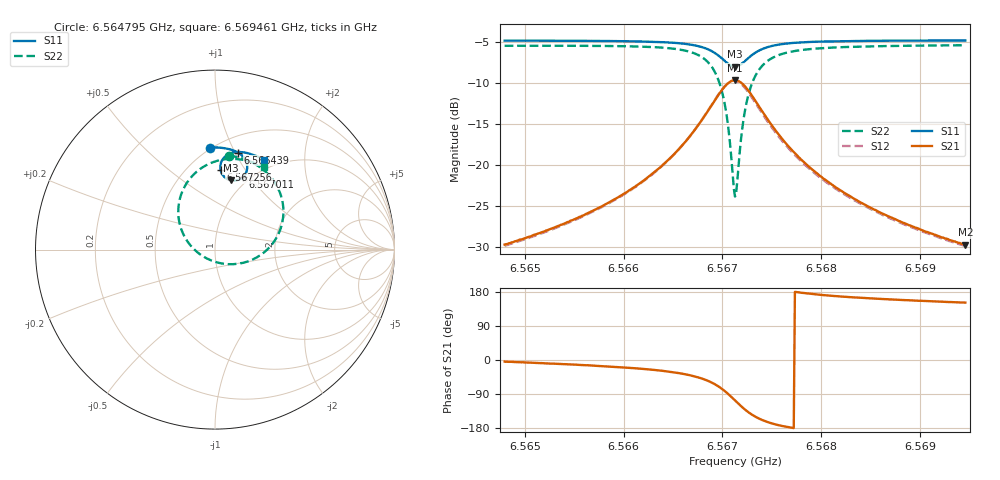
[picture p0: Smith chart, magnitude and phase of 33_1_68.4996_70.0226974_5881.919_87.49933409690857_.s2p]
#  HZ  S  RI  R  50.00
! Rohde & Schwarz Vector Network Analyzer
! Rohde-Schwarz,ZNB20-2Port,1311601062101988,3.16
! Created: UTC 3/20/2024, 4:50:00 PM
! freq[Hz]  re:S11  im:S11  re:S21  im:S21  re:S12  im:S12  re:S22  im:S22
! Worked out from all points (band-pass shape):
!   401 points, 6.564795 GHz to 6.569461 GHz, reference 50 ohm
!   highest |S21| = -9.70 dB at 6.567128 GHz (marker M1); lowest = -29.7 dB at 6.569461 GHz (marker M2)
!   |S21| within 3 dB of the highest: 6.566894 GHz to 6.56736 GHz (466.8 kHz wide, 0.00711 % of centre)
!   lowest |S11| = -8.1 dB at 6.567128 GHz (marker M3), VSWR 2.31, Z = 42.9 + j39.3 ohm
!   |S11| at or under -10 dB: nowhere
!   |S22| runs from -23.9 to -5.4 dB; largest |S21 - S12| = 0.017
!   S11 on the Smith chart (normalised r, x): 6.564795 GHz: 0.49, +0.82; 6.566439 GHz: 0.66, +1.03; 6.567011 GHz: 0.93, +0.93; 6.567256 GHz: 0.71, +0.78; 6.569461 GHz: 0.86, +1.28
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6.5647945e9  -0.0274 0.5688  0.0327 -0.00239  0.0321 -0.00298  0.0775 0.524
6.5655761e9  0.0389 0.5666  0.0476 -0.0113  0.0468 -0.0118  0.1586 0.5053
6.5660311e9  0.082 0.5589  0.0641 -0.0235  0.0632 -0.0243  0.2201 0.4781
6.5663577e9  0.1177 0.5463  0.0845 -0.0441  0.0833 -0.0452  0.2798 0.4359
6.5664394e9  0.1277 0.541  0.0914 -0.0529  0.09 -0.054  0.2978 0.4185
6.5666727e9  0.1587 0.5155  0.1142 -0.0968  0.1124 -0.0991  0.3556 0.3319
6.566836e9  0.1775 0.4776  0.1231 -0.1639  0.1196 -0.1679  0.381 0.2024
6.566941e9  0.176 0.4372  0.1017 -0.2351  0.0945 -0.2402  0.3429 0.0669
6.567011e9  0.1576 0.4062  0.0546 -0.2881  0.043 -0.2917  0.2535 -0.0304
6.5670576e9  0.134 0.39  0.00282 -0.3138  -0.0117 -0.3143  0.1561 -0.0737
6.5671043e9  0.1033 0.3837  -0.0611 -0.32  -0.0769 -0.3153  0.0392 -0.0775
6.5671276e9  0.087 0.3857  -0.0939 -0.3137  -0.1092 -0.306  -0.0189 -0.0613
6.567151e9  0.0717 0.3912  -0.1249 -0.3007  -0.1387 -0.2905  -0.0721 -0.0341
6.5672093e9  0.0424 0.4165  -0.1838 -0.2483  -0.1921 -0.234  -0.1674 0.0682
6.5672559e9  0.0313 0.4421  -0.2075 -0.1979  -0.2112 -0.1834  -0.2003 0.16
6.5673493e9  0.0344 0.4865  -0.2092 -0.1124  -0.2071 -0.1012  -0.1878 0.3092
6.5674893e9  0.0618 0.523  -0.1728 -0.0417  -0.1687 -0.0356  -0.1091 0.4276
6.5676526e9  0.0937 0.539  -0.1328 -0.00806  -0.1295 -0.00476  -0.0266 0.4809
6.5679092e9  0.1326 0.5442  -0.0932 0.00949  -0.091 0.0111  0.0607 0.5038
6.5682592e9  0.1725 0.5395  -0.0643 0.0156  -0.0628 0.0162  0.1346 0.5034
6.5686908e9  0.2122 0.5282  -0.0455 0.0167  -0.0444 0.0169  0.1952 0.4908
6.5694607e9  0.2722 0.502  -0.0287 0.0156  -0.0279 0.0157  0.2711 0.4601
